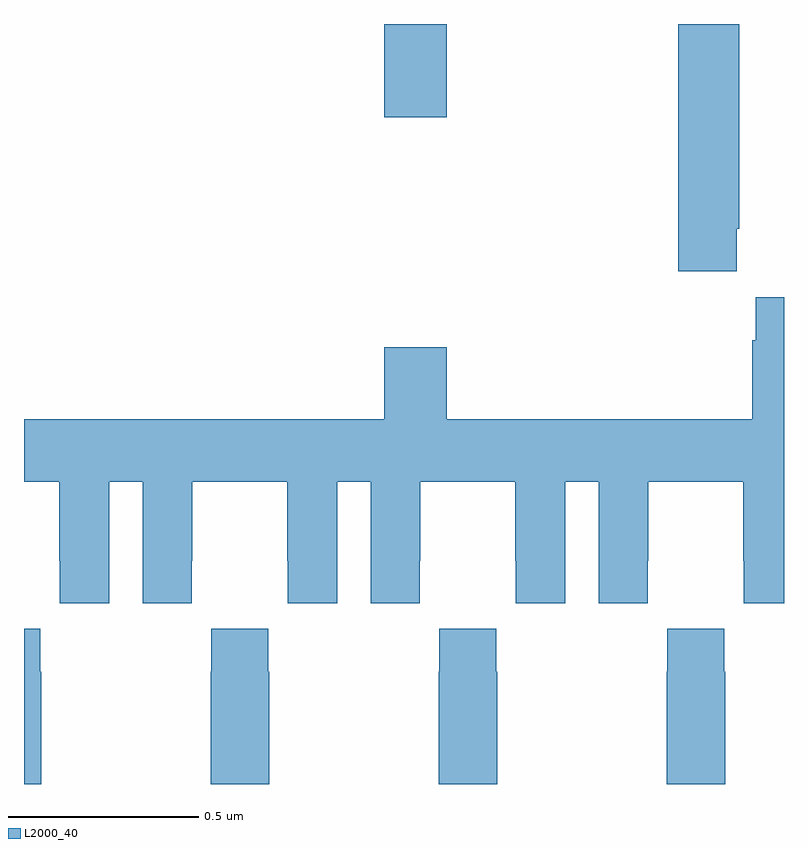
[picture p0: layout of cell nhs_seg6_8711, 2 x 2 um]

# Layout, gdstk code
import gdstk
lib = gdstk.Library(unit=1e-6, precision=1e-09)
def R(c, l, rs):  # rectangles x0, y0, x1, y1
    for r in rs: c.add(gdstk.rectangle(r[:2], r[2:], *l))
def P(c, l, *ps):  # polygons
    for p in ps: c.add(gdstk.Polygon(p, *l))
L2000_40 = (2000, 40)

nhs_seg6_8711 = lib.new_cell('nhs_seg6_8711')
R(nhs_seg6_8711, L2000_40, [(224.948,988.254,225.112,988.5)])
P(nhs_seg6_8711, L2000_40, [(225.875,987.961),(225.882,987.961),(225.882,988.5),(225.722,988.5),(225.722,987.849),(225.875,987.849)],
  [(224.224,987.296),(224.312,987.296),(224.312,986.976),(224.442,986.976),(224.442,987.088),(224.443,987.088),(224.443,987.296),(224.693,987.296),(224.693,987.088),(224.694,987.088),(224.694,986.976),(224.824,986.976),(224.824,987.296),(224.912,987.296),(224.912,986.976),(225.042,986.976),(225.042,987.088),(225.043,987.088),(225.043,987.296),(225.293,987.296),(225.293,987.088),(225.294,987.088),(225.294,986.976),(225.424,986.976),(225.424,987.296),(225.512,987.296),(225.512,986.976),(225.642,986.976),(225.642,987.088),(225.643,987.088),(225.643,987.296),(225.893,987.296),(225.893,987.088),(225.894,987.088),(225.894,986.976),(226,986.976),(226,987.781),(225.926,987.781),(225.926,987.668),(225.917,987.668),(225.917,987.46),(225.112,987.46),(225.112,987.649),(224.948,987.649),(224.948,987.46),(224,987.46),(224,987.296),(224.093,987.296),(224.093,987.088),(224.094,987.088),(224.094,986.976),(224.224,986.976)],
  [(224.646,986.795),(224.643,986.795),(224.643,986.908),(224.493,986.908),(224.493,986.795),(224.491,986.795),(224.491,986.5),(224.646,986.5)],
  [(225.246,986.795),(225.243,986.795),(225.243,986.908),(225.093,986.908),(225.093,986.795),(225.091,986.795),(225.091,986.5),(225.246,986.5)],
  [(225.846,986.795),(225.843,986.795),(225.843,986.908),(225.693,986.908),(225.693,986.795),(225.691,986.795),(225.691,986.5),(225.846,986.5)],
  [(224.046,986.795),(224.043,986.795),(224.043,986.908),(224,986.908),(224,986.5),(224.046,986.5)])

lib.write_gds('nhs_seg6_8711.gds')
